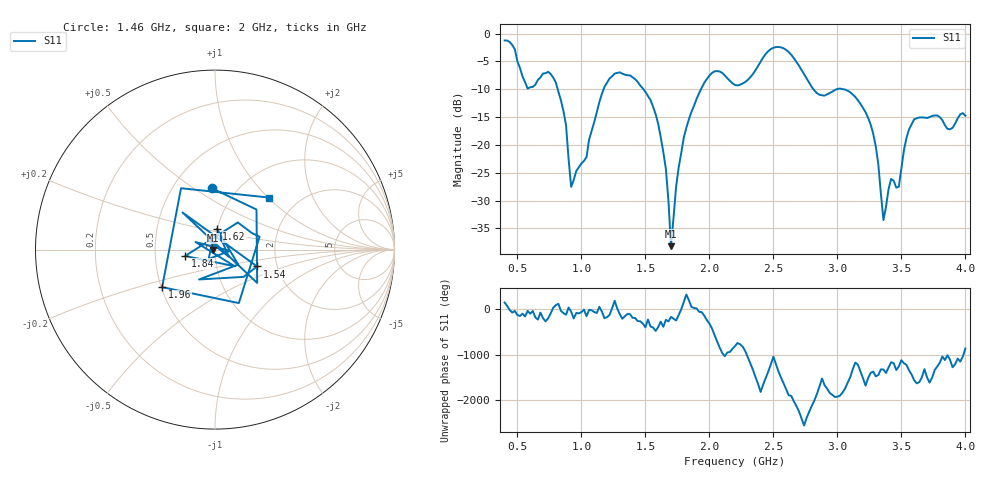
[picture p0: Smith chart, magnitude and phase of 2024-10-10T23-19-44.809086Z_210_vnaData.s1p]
! Created with skrf (http://scikit-rf.org).
# Hz S RI R 50.0
!freq ReS11 ImS11
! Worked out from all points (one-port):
!   181 points, 400 MHz to 4 GHz, reference 50 ohm
!   lowest |S11| = -38.2 dB at 1.7 GHz (marker M1), VSWR 1.02, Z = 48.8 - j0.242 ohm
!   |S11| at or under -10 dB: 814.8 MHz to 1.174 GHz (358.7 MHz wide, 36.1 % of centre); 1.485 GHz to 1.934 GHz (449.8 MHz wide, 26.3 % of centre); 3.044 GHz to end of sweep (the widest 3 of 4)
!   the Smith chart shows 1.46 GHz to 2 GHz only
!   S11 on the Smith chart (normalised r, x): 1.46 GHz: 0.77, +0.59; 1.54 GHz: 1.57, -0.32; 1.62 GHz: 0.99, +0.23; 1.84 GHz: 0.71, -0.05; 1.96 GHz: 0.51, -0.24; 2 GHz: 1.45, +1.02
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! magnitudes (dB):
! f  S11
! 400 MHz  -1.2
! 580 MHz  -9.9
! 760 MHz  -7.3
! 860 MHz  -14.0
! 920 MHz  -27.5
! 1.04 GHz  -22.2
! 1.18 GHz  -9.6
! 1.3 GHz  -7.0
! 1.46 GHz  -9.3
! 1.54 GHz  -12.0
! 1.62 GHz  -18.7
! 1.66 GHz  -24.3
! 1.7 GHz  -38.2
! 1.76 GHz  -24.0
! 1.84 GHz  -15.4
! 1.96 GHz  -8.8
! 2 GHz  -7.6
! 2.2 GHz  -9.2
! 2.5 GHz  -2.6
! 2.66 GHz  -4.4
! 2.86 GHz  -11.0
! 3.1 GHz  -10.5
! 3.28 GHz  -18.0
! 3.36 GHz  -33.5
! 3.42 GHz  -26.1
! 3.48 GHz  -27.5
! 3.56 GHz  -17.2
! 4 GHz  -14.8
